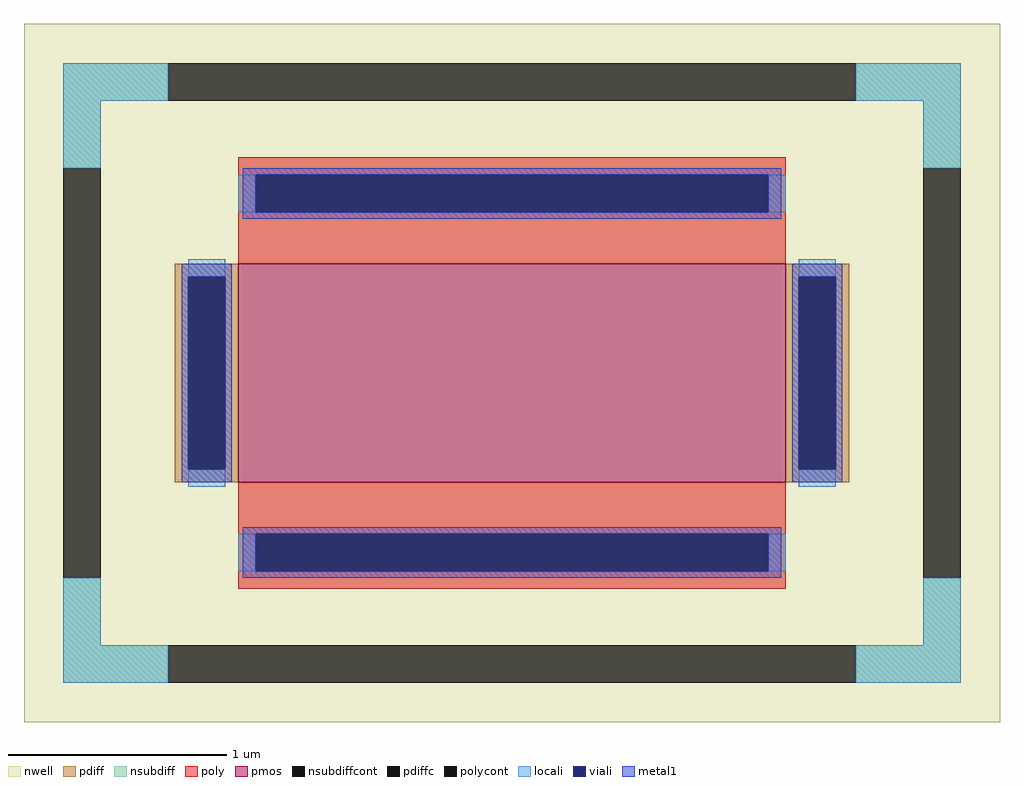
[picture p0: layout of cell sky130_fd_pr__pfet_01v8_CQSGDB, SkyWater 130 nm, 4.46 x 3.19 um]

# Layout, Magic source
magic
tech sky130A
magscale 1 2
<< nwell >>
rect -446 -319 446 319
<< pmos >>
rect -250 -100 250 100
<< pdiff >>
rect -308 88 -250 100
rect -308 -88 -296 88
rect -262 -88 -250 88
rect -308 -100 -250 -88
rect 250 88 308 100
rect 250 -88 262 88
rect 296 -88 308 88
rect 250 -100 308 -88
<< pdiffc >>
rect -296 -88 -262 88
rect 262 -88 296 88
<< nsubdiff >>
rect -410 249 -314 283
rect 314 249 410 283
rect -410 187 -376 249
rect 376 187 410 249
rect -410 -249 -376 -187
rect 376 -249 410 -187
rect -410 -283 -314 -249
rect 314 -283 410 -249
<< nsubdiffcont >>
rect -314 249 314 283
rect -410 -187 -376 187
rect 376 -187 410 187
rect -314 -283 314 -249
<< poly >>
rect -250 181 250 197
rect -250 147 -234 181
rect 234 147 250 181
rect -250 100 250 147
rect -250 -147 250 -100
rect -250 -181 -234 -147
rect 234 -181 250 -147
rect -250 -197 250 -181
<< polycont >>
rect -234 147 234 181
rect -234 -181 234 -147
<< locali >>
rect -410 249 -314 283
rect 314 249 410 283
rect -410 187 -376 249
rect 376 187 410 249
rect -250 147 -234 181
rect 234 147 250 181
rect -296 88 -262 104
rect -296 -104 -262 -88
rect 262 88 296 104
rect 262 -104 296 -88
rect -250 -181 -234 -147
rect 234 -181 250 -147
rect -410 -249 -376 -187
rect 376 -249 410 -187
rect -410 -283 -314 -249
rect 314 -283 410 -249
<< viali >>
rect -234 147 234 181
rect -296 -88 -262 88
rect 262 -88 296 88
rect -234 -181 234 -147
<< metal1 >>
rect -246 181 246 187
rect -246 147 -234 181
rect 234 147 246 181
rect -246 141 246 147
rect -302 88 -256 100
rect -302 -88 -296 88
rect -262 -88 -256 88
rect -302 -100 -256 -88
rect 256 88 302 100
rect 256 -88 262 88
rect 296 -88 302 88
rect 256 -100 302 -88
rect -246 -147 246 -141
rect -246 -181 -234 -147
rect 234 -181 246 -147
rect -246 -187 246 -181
<< properties >>
string FIXED_BBOX -393 -266 393 266
string gencell sky130_fd_pr__pfet_01v8
string library sky130
string parameters w 1.0 l 2.5 m 1 nf 1 diffcov 100 polycov 100 guard 1 glc 1 grc 1 gtc 1 gbc 1 tbcov 100 rlcov 100 topc 1 botc 1 poverlap 0 doverlap 1 lmin 0.15 wmin 0.42 class mosfet compatible {sky130_fd_pr__pfet_01v8  sky130_fd_pr__pfet_01v8_lvt sky130_fd_pr__pfet_01v8_hvt  sky130_fd_pr__pfet_g5v0d10v5} full_metal 1 viasrc 100 viadrn 100 viagate 100 viagb 0 viagr 0 viagl 0 viagt 0 ad {int((nf+1)/2) * W/nf * 0.29} as {int((nf+2)/2) * W/nf * 0.29} pd {2*int((nf+1)/2) * (W/nf + 0.29)} ps {2*int((nf+2)/2) * (W/nf + 0.29)} nrd {0.29 / W} nrs {0.29 / W} sa 0 sb 0 sd 0 mult 1
<< end >>
